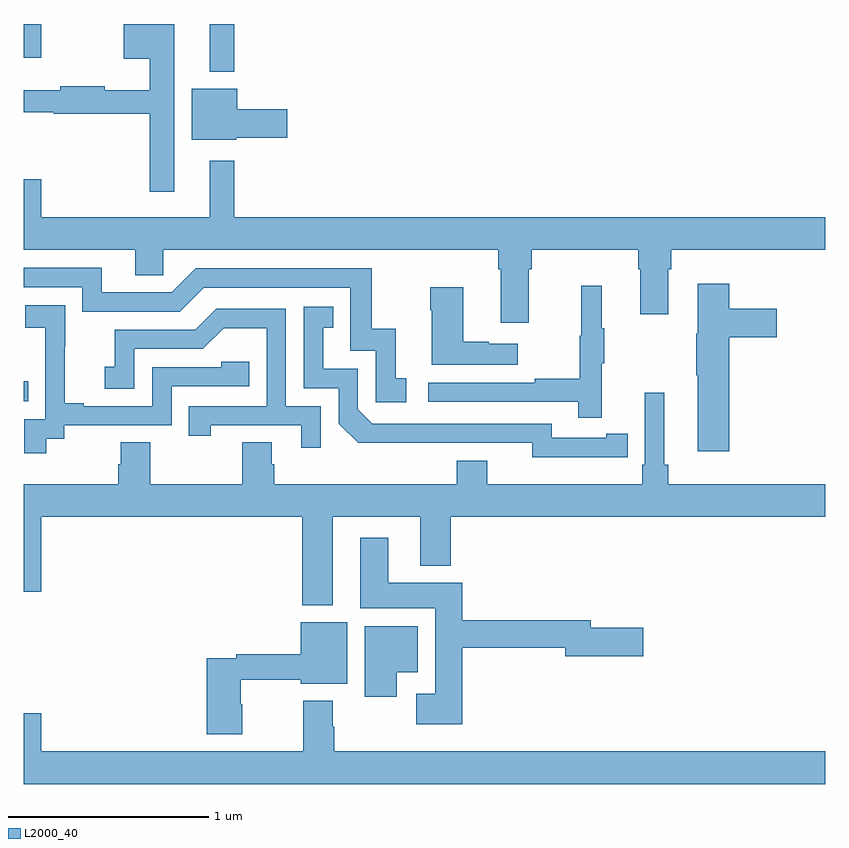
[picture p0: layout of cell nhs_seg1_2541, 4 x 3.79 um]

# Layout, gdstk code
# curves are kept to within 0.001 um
import gdstk
lib = gdstk.Library(unit=1e-6, precision=1e-09)
def R(c, l, rs):  # rectangles x0, y0, x1, y1
    for r in rs: c.add(gdstk.rectangle(r[:2], r[2:], *l))
def P(c, l, *ps):  # polygons
    for p in ps: c.add(gdstk.Polygon(p, *l))
L2000_40 = (2000, 40)

nhs_seg1_2541 = lib.new_cell('nhs_seg1_2541')
R(nhs_seg1_2541, L2000_40, [(249,544.317,249.023,544.418), (249.929,545.96,250.051,546.199), (249,546.03,249.088,546.199)])
P(nhs_seg1_2541, L2000_40, [(249.751,546.199),(249.5,546.199),(249.5,546.026),(249.63,546.026),(249.63,545.869),(249.404,545.869),(249.404,545.888),(249.184,545.888),(249.184,545.869),(249,545.869),(249,545.76),(249.151,545.76),(249.151,545.752),(249.63,545.752),(249.63,545.361),(249.751,545.361)],
  [(250.062,545.632),(250.315,545.632),(250.315,545.774),(250.066,545.774),(250.066,545.875),(249.839,545.875),(249.839,545.621),(250.062,545.621)],
  [(251.521,544.976),(251.534,544.976),(251.534,545.072),(252.065,545.072),(252.065,544.976),(252.077,544.976),(252.077,544.752),(252.217,544.752),(252.217,544.976),(252.23,544.976),(252.23,545.072),(253,545.072),(253,545.236),(250.051,545.236),(250.051,545.518),(249.929,545.518),(249.929,545.236),(249.088,545.236),(249.088,545.425),(249,545.425),(249,545.072),(249.557,545.072),(249.557,544.945),(249.696,544.945),(249.696,545.072),(251.369,545.072),(251.369,544.976),(251.381,544.976),(251.381,544.71),(251.521,544.71)],
  [(250.909,544.431),(250.856,544.431),(250.856,544.678),(250.738,544.678),(250.738,544.98),(249.858,544.98),(249.738,544.86),(249.391,544.86),(249.391,544.983),(249,544.983),(249,544.887),(249.294,544.887),(249.294,544.764),(249.78,544.764),(249.9,544.884),(250.629,544.884),(250.629,544.569),(250.758,544.569),(250.758,544.311),(250.909,544.311)],
  [(252.521,544.637),(252.757,544.637),(252.757,544.779),(252.521,544.779),(252.521,544.903),(252.362,544.903),(252.362,544.653),(252.355,544.653),(252.355,544.447),(252.362,544.447),(252.362,544.068),(252.521,544.068)],
  [(251.885,544.507),(251.896,544.507),(251.896,544.681),(251.885,544.681),(251.885,544.894),(251.782,544.894),(251.782,544.644),(251.775,544.644),(251.775,544.43),(251.551,544.43),(251.551,544.41),(251.019,544.41),(251.019,544.314),(251.767,544.314),(251.767,544.236),(251.885,544.236)],
  [(251.464,544.603),(251.321,544.603),(251.321,544.613),(251.194,544.613),(251.194,544.885),(251.029,544.885),(251.029,544.772),(251.036,544.772),(251.036,544.499),(251.464,544.499)],
  [(249.112,544.129),(249.204,544.129),(249.204,544.197),(249.738,544.197),(249.738,544.392),(250.127,544.392),(250.127,544.515),(249.987,544.515),(249.987,544.488),(249.642,544.488),(249.642,544.293),(249.301,544.293),(249.301,544.306),(249.206,544.306),(249.206,544.589),(249.207,544.589),(249.207,544.795),(249.009,544.795),(249.009,544.685),(249.107,544.685),(249.107,544.457),(249.108,544.457),(249.108,544.227),(249.003,544.227),(249.003,544.059),(249.112,544.059)],
  [(251.906,544.038),(252.014,544.038),(252.014,544.154),(251.906,544.154),(251.906,544.134),(251.634,544.134),(251.634,544.206),(250.74,544.206),(250.668,544.278),(250.668,544.479),(250.495,544.479),(250.495,544.683),(250.544,544.683),(250.544,544.789),(250.398,544.789),(250.398,544.383),(250.572,544.383),(250.572,544.206),(250.67,544.109),(251.538,544.11),(251.538,544.037)],
  [(250.482,544.293),(250.308,544.293),(250.308,544.779),(249.962,544.779),(249.857,544.674),(249.454,544.674),(249.454,544.489),(249.405,544.489),(249.405,544.38),(249.552,544.38),(249.552,544.578),(249.894,544.578),(249.998,544.682),(250.212,544.682),(250.212,544.293),(249.823,544.293),(249.823,544.146),(249.934,544.146),(249.934,544.197),(250.385,544.197),(250.385,544.086),(250.482,544.086)],
  [(250.543,543.74),(250.979,543.74),(250.979,543.497),(251.132,543.497),(251.132,543.74),(253,543.74),(253,543.904),(252.215,543.904),(252.215,544),(252.196,544),(252.196,544.36),(252.099,544.36),(252.099,544),(252.086,544),(252.086,543.904),(251.314,543.904),(251.314,544.021),(251.162,544.021),(251.162,543.904),(250.25,543.904),(250.25,544.002),(250.237,544.002),(250.237,544.112),(250.09,544.112),(250.09,543.904),(249.633,543.904),(249.633,544.112),(249.485,544.112),(249.485,544.002),(249.473,544.002),(249.473,543.904),(249,543.904),(249,543.366),(249.088,543.366),(249.088,543.74),(250.391,543.74),(250.391,543.299),(250.543,543.299)],
  [(251.189,543.088),(251.702,543.088),(251.702,543.046),(252.091,543.046),(252.091,543.188),(251.83,543.188),(251.83,543.224),(251.189,543.224),(251.189,543.412),(250.819,543.412),(250.819,543.637),(250.679,543.637),(250.679,543.284),(251.054,543.284),(251.054,542.857),(250.959,542.857),(250.959,542.705),(251.189,542.705)],
  [(250.092,542.805),(250.084,542.805),(250.084,542.928),(250.382,542.928),(250.382,542.909),(250.615,542.909),(250.615,543.214),(250.382,543.214),(250.382,543.056),(250.06,543.056),(250.06,543.036),(249.914,543.036),(249.914,542.657),(250.092,542.657)],
  [(250.861,542.966),(250.966,542.966),(250.966,543.196),(250.703,543.196),(250.703,542.844),(250.861,542.844)],
  [(253,542.572),(250.551,542.572),(250.551,542.693),(250.543,542.693),(250.543,542.824),(250.396,542.824),(250.396,542.572),(249.088,542.572),(249.088,542.761),(249,542.761),(249,542.408),(253,542.408)])

lib.write_gds('nhs_seg1_2541.gds')
